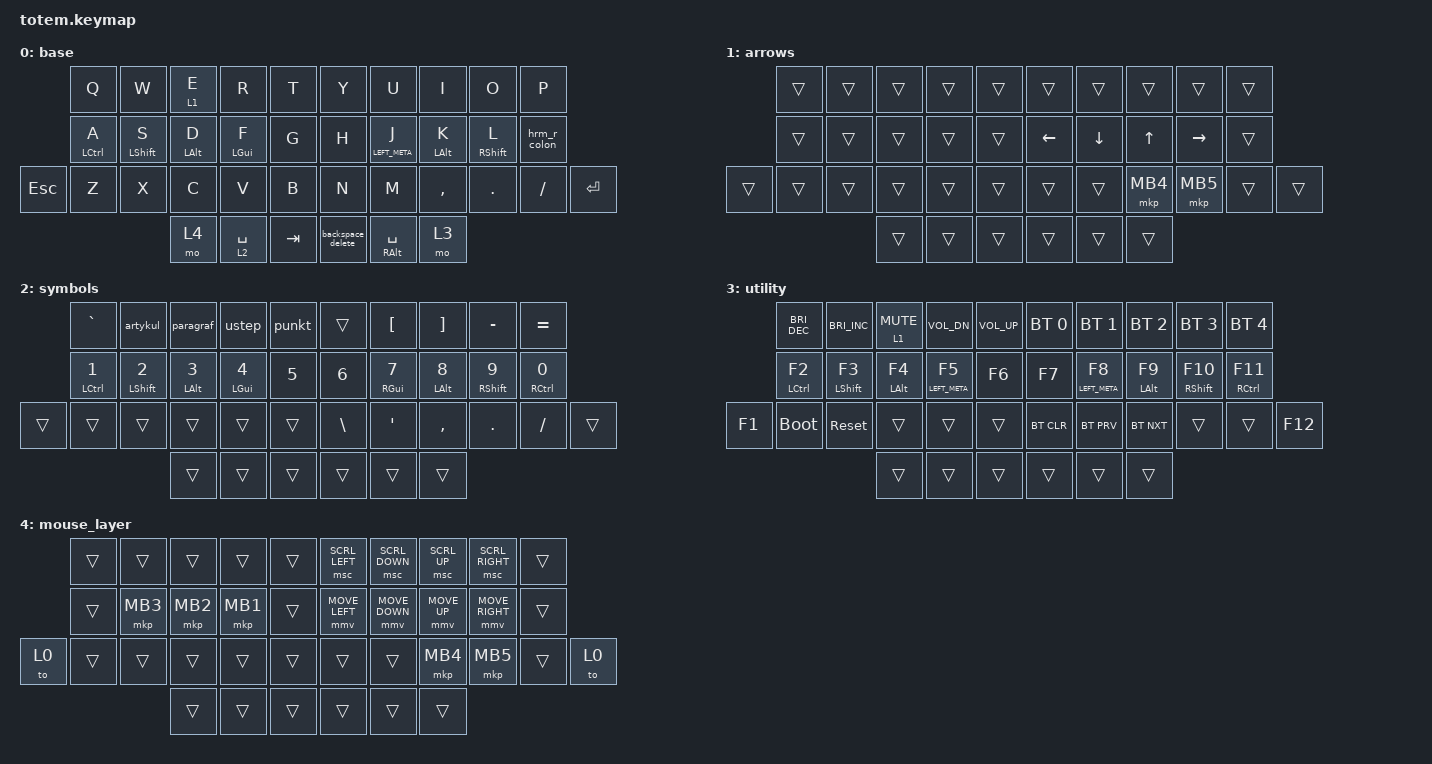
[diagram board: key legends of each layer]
//
//                                                        ▀▀▀▀▀     ▀▀▀▀▀          ▀▀█▀▀
//                                                        ▄▀▀▀▄  ▄  ▄▀▀▀▄  ▄  ▄▀▀▀▄  █  ▄▀▀▀▄
//                                                        █   █  █  █   █  █  █   █  █  █   █
//                                                         ▀▀▀   █   ▀▀▀   █   ▀▀▀   ▀   ▀▀▀
//                                                               █      ▄▄▄█▄▄▄    █   █  
//                                                               ▀      █  █  █     █▄█
//                                                             ▀▀▀▀▀    █  █  █      ▀
//                                                                      ▀  ▀  ▀
//
// ▄▄▄▄▄▄▄▄▄▄▄▄▄▄▄▄▄▄▄▄▄▄▄▄▄▄▄▄▄▄▄▄▄▄▄▄▄▄▄▄▄▄▄▄▄▄▄▄▄▄▄▄▄▄▄▄▄▄▄▄▄▄▄▄▄▄▄▄▄▄▄▄▄▄▄▄▄▄▄▄▄▄▄▄▄▄▄▄▄▄▄▄▄▄▄▄▄▄▄▄▄▄▄▄▄▄▄▄▄▄▄▄▄▄▄▄▄▄▄▄▄▄▄▄▄▄▄▄▄▄▄▄▄▄▄▄▄▄▄▄▄▄▄▄▄▄▄▄▄

#include <behaviors/rgbled_widget.dtsi>
#include <behaviors.dtsi>
#include <dt-bindings/zmk/bt.h>
#include <dt-bindings/zmk/keys.h>
#include <dt-bindings/zmk/pointing.h>

#define BASE 0
#define SYM  1
#define NUM  2
#define NAV  3
#define FUN  4
#define FUN2  5
#define SYS  6
#define MEDIA  7

&mt {
    quick-tap-ms = <100>;
    global-quick-tap;
    flavor = "tap-preferred";
    tapping-term-ms = <170>;
};

#define KEYS_L 4 3 2 1 0 14 13 12 11 10 25 24 23 22 21 20   // left-hand keys
#define KEYS_R 5 6 7 8 9 15 16 17 18 19 26 27 28 29 30 31   // right-hand keys
#define THUMBS 32 33 34 35 36 37                            // thumb keys

/ {
    behaviors {
        hrm_l: home_row_mod_left {
            compatible = "zmk,behavior-hold-tap";
            #binding-cells = <2>;
            flavor = "balanced";
            require-prior-idle-ms = <125>;
            tapping-term-ms = <240>;
            quick-tap-ms = <175>;
            bindings = <&kp>, <&kp>;

            hold-trigger-key-positions = <KEYS_R THUMBS 5 6 7 8 9 15 16 17 18 19 26 27 28 29 30 31 35 36 37>; // List of keys on the right side of the keyboard
            hold-trigger-on-release;
        };

        hrm_r: home_row_mod_right {
            compatible = "zmk,behavior-hold-tap";
            #binding-cells = <2>;
            flavor = "balanced";
            require-prior-idle-ms = <125>;
            tapping-term-ms = <240>;
            quick-tap-ms = <175>;
            bindings = <&kp>, <&kp>;

            hold-trigger-key-positions = <KEYS_L THUMBS 0 1 2 3 4 10 11 12 13 14 22 23 24 25 10 20 21 22 13 14 23 24 25 32 33 34>; // List of keys on the left side of the keyboard
            hold-trigger-on-release;
        };
    };
};

/ {
    behaviors {
        lt2: lt2 {
            compatible = "zmk,behavior-hold-tap";
            #binding-cells = <2>;
            flavor = "tap-preferred";
            tapping-term-ms = <50>;
            bindings = <&mo>, <&kp>;

            display-name = "Layer-Tap";
        };
    };
};

/ {
    behaviors {
        #if ZMK_BEHAVIOR_OMIT(NUM_WORD)
        /omit-if-no-ref/
#endif

        num_word: num_word {
            compatible = "zmk,behavior-auto-layer";
            #binding-cells = <1>;
            continue-list = <BACKSPACE DELETE DOT COMMA PLUS MINUS STAR FSLH EQUAL>;
            ignore-numbers;
        };

        backspace_delete: backspace_delete {
            compatible = "zmk,behavior-mod-morph";
            label = "BACKSPACE_DELETE";
            bindings = <&kp BACKSPACE>, <&kp DEL>;

            #binding-cells = <0>;
            mods = <(MOD_LSFT|MOD_RSFT)>;
        };

        h_arrow_left: h_arrow_left {
            compatible = "zmk,behavior-mod-morph";
            label = "H_ARROW_LEFT";
            bindings = <&kp H>, <&kp LEFT>;

            #binding-cells = <0>;
            mods = <(MOD_LALT)>;
        };

        j_arrow_down: j_arrow_down {
            compatible = "zmk,behavior-mod-morph";
            label = "J_ARROW_DOWN";
            bindings = <&hrm_r RIGHT_GUI J>, <&kp DOWN>;

            #binding-cells = <0>;
            mods = <(MOD_LALT)>;
        };

        k_arrow_up: k_arrow_up {
            compatible = "zmk,behavior-mod-morph";
            label = "K_ARROW_UP";
            bindings = <&hrm_r LEFT_ALT K>, <&kp UP>;

            #binding-cells = <0>;
            mods = <(MOD_LALT)>;
        };

        l_arrow_right: l_arrow_right {
            compatible = "zmk,behavior-mod-morph";
            label = "L_ARROW_RIGHT";
            bindings = <&hrm_r RIGHT_SHIFT L>, <&kp RIGHT>;

            #binding-cells = <0>;
            mods = <(MOD_LALT)>;
        };

        hrm_r_colon: hrm_r_colon {
            compatible = "zmk,behavior-mod-morph";
            label = "HRM_R_COLON";
            bindings = <&hrm_r RIGHT_CONTROL COLON>, <&kp SEMI>;

            #binding-cells = <0>;
            mods = <(MOD_LSFT|MOD_RSFT)>;
        };

        altgr_space_noprior: altgr_space_noprior {
            compatible = "zmk,behavior-hold-tap";
            #binding-cells = <2>;
            flavor = "hold-preferred";
            require-prior-idle-ms = <0>;
            tapping-term-ms = <200>;
            quick-tap-ms = <150>;
            bindings = <&kp>, <&kp>;

            hold-trigger-on-release;
            label = "ALTGR_SPACE_NOPRIOR";
        };

        lt_hrmstyle: lt_hrmstyle {
            compatible = "zmk,behavior-hold-tap";
            label = "LT_HRMSTYLE";
            bindings = <&mo>, <&kp>;

            #binding-cells = <2>;
            tapping-term-ms = <240>;
            quick-tap-ms = <175>;
            require-prior-idle-ms = <125>;
            flavor = "balanced";
            hold-trigger-key-positions = <5 6 7 8 9 15 16 17 18 19 26 27 28 29 30 31 35 36 37>;
            hold-trigger-on-release;
        };
    };
};

/ {
    combos {
        compatible = "zmk,combos";

        combo_undo {
            timeout-ms = <50>;
            key-positions = <21 22>;
            bindings = <&kp LC(Z)>;
        };

        combo_copycat {
            timeout-ms = <50>;
            key-positions = <22 23>;
            bindings = <&mt LC(X) LC(C)>;
        };

        combo_paste {
            timeout-ms = <50>;
            key-positions = <23 24>;
            bindings = <&kp LC(V)>;
        };

        capslock_fix_for_keyd {
            bindings = <&kp CAPSLOCK>;
            key-positions = <30 21>;
            timeout-ms = <50>;
        };
    };

    macros {
        paragraf: paragraf {
            label = "paragraf";
            compatible = "zmk,behavior-macro";
            #binding-cells = <0>;
            bindings =
                <&macro_press>,
                <&kp LEFT_SHIFT &kp LEFT_CONTROL>,
                <&macro_tap>,
                <&kp U>,
                <&macro_release>,
                <&kp LEFT_SHIFT &kp LEFT_CONTROL>,
                <&macro_tap>,
                <&kp N0 &kp N0 &kp A &kp N7 &kp SPACE>;

            wait-ms = <0>;
            tap-ms = <0>;
        };

        artykul: macro_artykul {
            compatible = "zmk,behavior-macro";
            label = "MACRO_ARTYKUL";
            #binding-cells = <0>;
            bindings = <&macro_tap>, <&kp A &kp R &kp T &kp DOT &kp SPACE>;

            wait-ms = <0>;
            tap-ms = <0>;
        };

        punkt: punkt {
            compatible = "zmk,behavior-macro";
            label = "PUNKT";
            #binding-cells = <0>;
            bindings = <&macro_tap>, <&kp P &kp K &kp T &kp SPACE>;

            wait-ms = <0>;
            tap-ms = <0>;
        };

        ustep: ustep {
            compatible = "zmk,behavior-macro";
            label = "USTEP";
            #binding-cells = <0>;
            bindings = <&macro_tap>, <&kp U &kp S &kp T &kp DOT &kp SPACE>;

            wait-ms = <0>;
            tap-ms = <0>;
        };
    };
};

/ {
    keymap {
        compatible = "zmk,keymap";

        base_layer {
            label = "base";
            bindings = <
         &kp Q                  &kp W                &lt_hrmstyle 1 E   &kp R              &kp T      &kp Y              &kp U                            &kp I              &kp O                 &kp P
         &hrm_l LEFT_CONTROL A  &hrm_l LEFT_SHIFT S  &hrm_l LEFT_ALT D  &hrm_l LEFT_GUI F  &kp G      &kp H              &hrm_r LEFT_META J               &hrm_r LEFT_ALT K  &hrm_r RIGHT_SHIFT L  &hrm_r_colon
&kp ESC  &kp Z                  &kp X                &kp C              &kp V              &kp B      &kp N              &kp M                            &kp COMMA          &kp DOT               &kp FSLH      &kp ENTER
                                                     &mo 4              &lt 2 SPACE        &kp TAB    &backspace_delete  &altgr_space_noprior RALT SPACE  &mo 3
            >;
        };

        arrows {
            bindings = <
        &trans  &trans  &trans  &trans  &trans    &trans    &trans    &trans    &trans     &trans
        &trans  &trans  &trans  &trans  &trans    &kp LEFT  &kp DOWN  &kp UP    &kp RIGHT  &trans
&trans  &trans  &trans  &trans  &trans  &trans    &trans    &trans    &mkp MB4  &mkp MB5   &trans  &trans
                        &trans  &trans  &trans    &trans    &trans    &trans
            >;
        };

        symbols_layer {
            label = "symbols";
            bindings = <
        &kp GRAVE                     &artykul                    &paragraf                 &ustep                    &punkt    &trans         &kp LEFT_BRACKET     &kp RIGHT_BRACKET   &kp MINUS              &kp EQUAL
        &hrm_l LEFT_CONTROL NUMBER_1  &hrm_l LEFT_SHIFT NUMBER_2  &hrm_l LEFT_ALT NUMBER_3  &hrm_l LEFT_GUI NUMBER_4  &kp N5    &kp NUMBER_6   &hrm_r RIGHT_GUI N7  &hrm_r LEFT_ALT N8  &hrm_r RIGHT_SHIFT N9  &hrm_r RIGHT_CONTROL N0
&trans  &trans                        &trans                      &trans                    &trans                    &trans    &kp BACKSLASH  &kp SQT              &kp COMMA           &kp PERIOD             &kp SLASH                &trans
                                                                  &trans                    &trans                    &trans    &trans         &trans               &trans
            >;
        };

        utility_layer {
            label = "utility";
            bindings = <
        &kp C_BRIGHTNESS_DEC    &kp C_BRIGHTNESS_INC  &lt_hrmstyle 1 K_MUTE  &kp C_VOL_DN         &kp C_VOL_UP    &bt BT_SEL 0  &bt BT_SEL 1         &bt BT_SEL 2        &bt BT_SEL 3            &bt BT_SEL 4
        &hrm_l LEFT_CONTROL F2  &hrm_l LEFT_SHIFT F3  &hrm_l LEFT_ALT F4     &hrm_l LEFT_META F5  &kp F6          &kp F7        &hrm_r LEFT_META F8  &hrm_r LEFT_ALT F9  &hrm_r RIGHT_SHIFT F10  &hrm_r RIGHT_CONTROL F11
&kp F1  &bootloader             &sys_reset            &trans                 &trans               &trans          &bt BT_CLR    &bt BT_PRV           &bt BT_NXT          &trans                  &trans                    &kp F12
                                                      &trans                 &trans               &trans          &trans        &trans               &trans
            >;
        };

        mouse_layer {
            bindings = <
       &trans  &trans    &trans    &trans    &trans    &msc SCRL_LEFT  &msc SCRL_DOWN  &msc SCRL_UP  &msc SCRL_RIGHT  &trans
       &trans  &mkp MB3  &mkp MB2  &mkp MB1  &trans    &mmv MOVE_LEFT  &mmv MOVE_DOWN  &mmv MOVE_UP  &mmv MOVE_RIGHT  &trans
&to 0  &trans  &trans    &trans    &trans    &trans    &trans          &trans          &mkp MB4      &mkp MB5         &trans  &to 0
                         &trans    &trans    &trans    &trans          &trans          &trans
            >;
        };
    };
};
